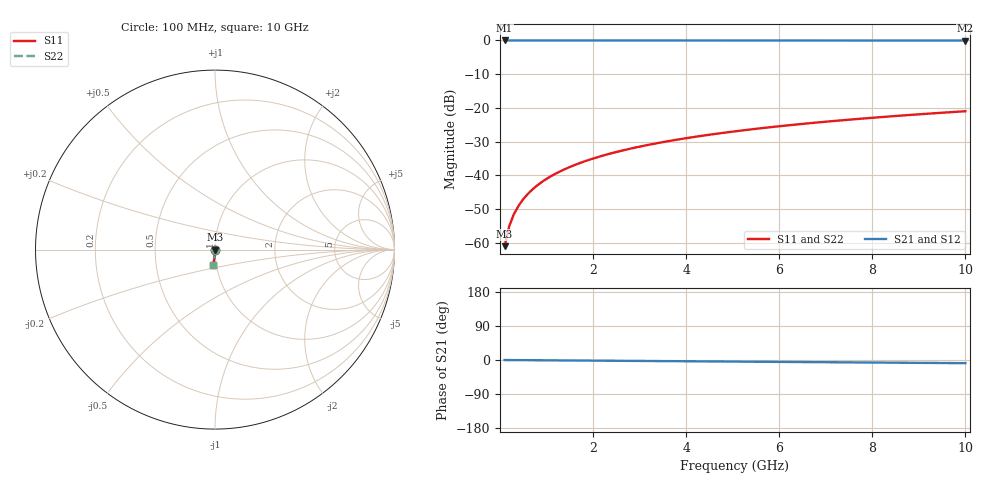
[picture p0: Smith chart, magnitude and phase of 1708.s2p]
# Hz S RI R 50.00
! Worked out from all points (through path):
!   100 points, 100 MHz to 10 GHz, reference 50 ohm
!   highest |S21| = 0.00 dB at 100 MHz (marker M1); lowest = 0.0 dB at 10 GHz (marker M2)
!   group delay of S21, straight-line fit = 2.32 ps
!   lowest |S11| = -61.0 dB at 100 MHz (marker M3), VSWR 1.00, Z = 50 - j0.0885 ohm
!   |S11| at or under -10 dB: start of sweep to end of sweep
!   |S22| runs from -61.0 to -21.0 dB; largest |S21 - S12| = 0
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1e8  0.0001 -0.000885  0.9999 -0.00144  0.9999 -0.00144  0.0001 -0.000885
2e8  9.59e-05 -0.00177  0.9999 -0.00288  0.9999 -0.00288  9.59e-05 -0.00177
3e8  8.89e-05 -0.00265  0.9999 -0.00432  0.9999 -0.00432  8.89e-05 -0.00265
4e8  7.93e-05 -0.00354  0.9999 -0.00576  0.9999 -0.00576  7.93e-05 -0.00354
5e8  6.7e-05 -0.00442  0.9999 -0.0072  0.9999 -0.0072  6.7e-05 -0.00442
6e8  5.22e-05 -0.00531  0.9998 -0.00864  0.9998 -0.00864  5.22e-05 -0.00531
7e8  3.48e-05 -0.00619  0.9998 -0.0101  0.9998 -0.0101  3.48e-05 -0.00619
8e8  1.49e-05 -0.00708  0.9998 -0.0115  0.9998 -0.0115  1.49e-05 -0.00708
9e8  -7.68e-06 -0.00796  0.9998 -0.013  0.9998 -0.013  -7.68e-06 -0.00796
1.1e9  -6.05e-05 -0.00974  0.9997 -0.0158  0.9997 -0.0158  -6.05e-05 -0.00974
1.4e9  -0.000159 -0.0124  0.9996 -0.0202  0.9996 -0.0202  -0.000159 -0.0124
1.8e9  -0.000326 -0.0159  0.9994 -0.0259  0.9994 -0.0259  -0.000326 -0.0159
2.1e9  -0.000479 -0.0186  0.9992 -0.0303  0.9992 -0.0303  -0.000479 -0.0186
2.5e9  -0.000718 -0.0221  0.999 -0.036  0.999 -0.036  -0.000718 -0.0221
2.9e9  -0.000999 -0.0257  0.9987 -0.0418  0.9987 -0.0418  -0.000999 -0.0257
3.4e9  -0.00141 -0.0301  0.9982 -0.049  0.9982 -0.049  -0.00141 -0.0301
4.2e9  -0.0022 -0.0372  0.9973 -0.0606  0.9973 -0.0606  -0.0022 -0.0372
5.1e9  -0.00329 -0.0452  0.9961 -0.0736  0.9961 -0.0736  -0.00329 -0.0452
5.9e9  -0.00444 -0.0523  0.9948 -0.0852  0.9948 -0.0852  -0.00444 -0.0523
6.7e9  -0.00575 -0.0594  0.9933 -0.0968  0.9933 -0.0968  -0.00575 -0.0594
8.4e9  -0.0091 -0.0743  0.9896 -0.1214  0.9896 -0.1214  -0.0091 -0.0743
1e10  -0.0129 -0.0883  0.9852 -0.1445  0.9852 -0.1445  -0.0129 -0.0883
